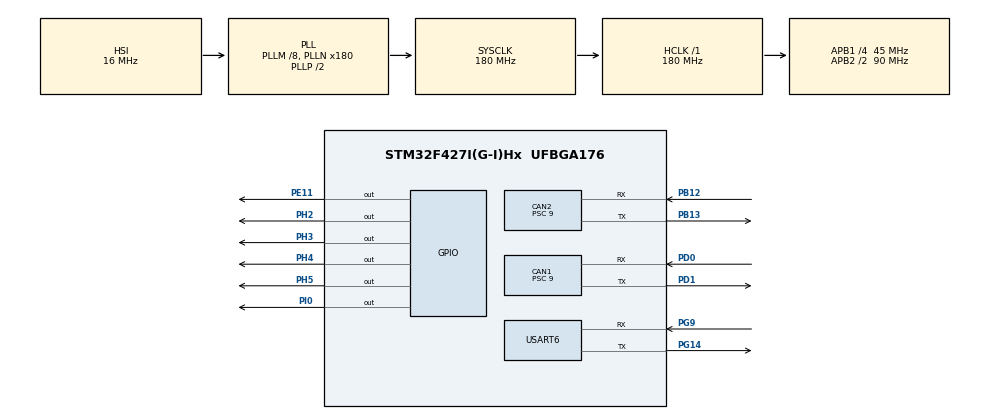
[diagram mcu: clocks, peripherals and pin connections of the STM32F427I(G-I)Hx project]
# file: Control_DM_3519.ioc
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CAN1.ABOM=ENABLE
CAN1.BS1=CAN_BS1_2TQ
CAN1.BS2=CAN_BS2_2TQ
CAN1.CalculateBaudRate=1000000
CAN1.CalculateTimeBit=1000
CAN1.CalculateTimeQuantum=200.0
CAN1.Prescaler=9
CAN2.BS1=CAN_BS1_2TQ
CAN2.BS2=CAN_BS2_2TQ
CAN2.CalculateBaudRate=1000000
CAN2.CalculateTimeBit=1000
CAN2.CalculateTimeQuantum=200.0
CAN2.Prescaler=9
Mcu.Family=STM32F4
Mcu.Name=STM32F427I(G-I)Hx
Mcu.Package=UFBGA176
NVIC.CAN1_RX0_IRQn=true\:0\:0\:false\:false\:true\:true\:true\:true
NVIC.CAN1_RX1_IRQn=true\:0\:0\:false\:false\:true\:true\:true\:true
NVIC.CAN1_SCE_IRQn=true\:0\:0\:false\:false\:true\:true\:true\:true
NVIC.CAN1_TX_IRQn=true\:0\:0\:false\:false\:true\:true\:true\:true
NVIC.CAN2_RX0_IRQn=true\:0\:0\:false\:false\:true\:true\:true\:true
NVIC.PriorityGroup=NVIC_PRIORITYGROUP_4
NVIC.TIM3_IRQn=true\:0\:0\:false\:false\:true\:true\:true\:true
PA13.Mode=Serial_Wire
PA13.Signal=SYS_JTMS-SWDIO
PA14.Mode=Serial_Wire
PA14.Signal=SYS_JTCK-SWCLK
PB12.Mode=CAN_Activate
PB12.Signal=CAN2_RX
PB13.Mode=CAN_Activate
PB13.Signal=CAN2_TX
PD0.Mode=CAN_Activate
PD0.Signal=CAN1_RX
PD1.Mode=CAN_Activate
PD1.Signal=CAN1_TX
PE11.Signal=GPIO_Output
PG14.Mode=Asynchronous
PG14.Signal=USART6_TX
PG9.Mode=Asynchronous
PG9.Signal=USART6_RX
PH0/OSC_IN.Mode=HSE-External-Oscillator
PH0/OSC_IN.Signal=RCC_OSC_IN
PH1/OSC_OUT.Mode=HSE-External-Oscillator
PH1/OSC_OUT.Signal=RCC_OSC_OUT
PH2.GPIO_PuPd=GPIO_PULLDOWN
PH2.PinState=GPIO_PIN_RESET
PH2.Signal=GPIO_Output
PH3.GPIO_PuPd=GPIO_PULLDOWN
PH3.PinState=GPIO_PIN_RESET
PH3.Signal=GPIO_Output
PH4.GPIO_PuPd=GPIO_PULLDOWN
PH4.PinState=GPIO_PIN_RESET
PH4.Signal=GPIO_Output
PH5.GPIO_PuPd=GPIO_PULLDOWN
PH5.PinState=GPIO_PIN_RESET
PH5.Signal=GPIO_Output
PI0.Signal=GPIO_Output
ProjectManager.HeapSize=0x200
ProjectManager.StackSize=0x400
ProjectManager.TargetToolchain=MDK-ARM V5.32
RCC.48MHZClocksFreq_Value=90000000
RCC.AHBFreq_Value=180000000
RCC.APB1CLKDivider=RCC_HCLK_DIV4
RCC.APB1Freq_Value=45000000
RCC.APB1TimFreq_Value=90000000
RCC.APB2CLKDivider=RCC_HCLK_DIV2
RCC.APB2Freq_Value=90000000
RCC.APB2TimFreq_Value=180000000
RCC.CortexFreq_Value=180000000
RCC.HCLKFreq_Value=180000000
RCC.HSE_VALUE=12000000
RCC.HSI_VALUE=16000000
RCC.LSE_VALUE=32768
RCC.PLLM=8
RCC.PLLN=180
RCC.SYSCLKFreq_VALUE=180000000
RCC.SYSCLKSource=RCC_SYSCLKSOURCE_PLLCLK
RCC.VCOOutputFreq_Value=360000000
TIM3.Period=1000-1
TIM3.Prescaler=180 - 1
USART6.VirtualMode=VM_ASYNC
VP_TIM3_VS_ClockSourceINT.Mode=Internal
board=custom

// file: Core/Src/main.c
/* USER CODE BEGIN Header */
/**
  ******************************************************************************
  * @file           : main.c
  * @brief          : Main program body
  ******************************************************************************
  * @attention
  *
  * Copyright (c) 2025 STMicroelectronics.
  * All rights reserved.
  *
  * This software is licensed under terms that can be found in the LICENSE file
  * in the root directory of this software component.
  * If no LICENSE file comes with this software, it is provided AS-IS.
  *
  ******************************************************************************
  */
/* USER CODE END Header */
#include "main.h"
#include "can.h"
#include "tim.h"
#include "usart.h"
#include "gpio.h"

/* USER CODE BEGIN Includes */
#include "CAN_receive.h"
#include "bsp_can.h"
#include "delay.h"
/* USER CODE END Includes */

/* USER CODE BEGIN PV */
  float vel=3.14;
/* USER CODE END PV */

void SystemClock_Config(void);

/* USER CODE BEGIN 0 */
void HAL_TIM_PeriodElapsedCallback(TIM_HandleTypeDef *htim)
{
  /* USER CODE BEGIN Callback 0 */
	if (htim->Instance == TIM3)
	{
		spd_control(vel);
//		disable_motor_mode(&hcan1,0x01,SPEED_MODE);
	}
}
/* USER CODE END 0 */

int main(void)
{

  /* MCU Configuration--------------------------------------------------------*/

  /* Reset of all peripherals, Initializes the Flash interface and the Systick. */
  HAL_Init();

  /* Configure the system clock */
  SystemClock_Config();

  /* Initialize all configured peripherals */
  MX_GPIO_Init();
  MX_CAN1_Init();
  MX_CAN2_Init();
  MX_USART6_UART_Init();
  MX_TIM3_Init();
  /* USER CODE BEGIN 2 */
  HAL_TIM_Base_MspInit(&htim3);
  can_filter_init();
	HAL_CAN_MspInit(&hcan1);
  HAL_GPIO_WritePin(GPIOH, GPIO_PIN_2|GPIO_PIN_3|GPIO_PIN_4|GPIO_PIN_5, GPIO_PIN_SET);
	HAL_Delay(10000);
  enable_motor_mode(&hcan1,0x01,SPEED_MODE);
  HAL_Delay(500);

  HAL_TIM_Base_Start_IT(&htim3);
//  spd_control(vel);
  /* USER CODE END 2 */

  /* Infinite loop */
  /* USER CODE BEGIN WHILE */
  while (1)
  {
	  HAL_GPIO_TogglePin(GPIOE, GPIO_PIN_11);
	  HAL_Delay(500);
    /* USER CODE END WHILE */

  }
}

void SystemClock_Config(void)
{
  RCC_OscInitTypeDef RCC_OscInitStruct = {0};
  RCC_ClkInitTypeDef RCC_ClkInitStruct = {0};

  /** Configure the main internal regulator output voltage
  */
  __HAL_RCC_PWR_CLK_ENABLE();
  __HAL_PWR_VOLTAGESCALING_CONFIG(PWR_REGULATOR_VOLTAGE_SCALE1);

  /** Initializes the RCC Oscillators according to the specified parameters
  * in the RCC_OscInitTypeDef structure.
  */
  RCC_OscInitStruct.OscillatorType = RCC_OSCILLATORTYPE_HSI;
  RCC_OscInitStruct.HSIState = RCC_HSI_ON;
  RCC_OscInitStruct.HSICalibrationValue = RCC_HSICALIBRATION_DEFAULT;
  RCC_OscInitStruct.PLL.PLLState = RCC_PLL_ON;
  RCC_OscInitStruct.PLL.PLLSource = RCC_PLLSOURCE_HSI;
  RCC_OscInitStruct.PLL.PLLM = 8;
  RCC_OscInitStruct.PLL.PLLN = 180;
  RCC_OscInitStruct.PLL.PLLP = RCC_PLLP_DIV2;
  RCC_OscInitStruct.PLL.PLLQ = 4;
  if (HAL_RCC_OscConfig(&RCC_OscInitStruct) != HAL_OK)
  {
    Error_Handler();
  }

  /** Activate the Over-Drive mode
  */
  if (HAL_PWREx_EnableOverDrive() != HAL_OK)
  {
    Error_Handler();
  }

  /** Initializes the CPU, AHB and APB buses clocks
  */
  RCC_ClkInitStruct.ClockType = RCC_CLOCKTYPE_HCLK|RCC_CLOCKTYPE_SYSCLK
                              |RCC_CLOCKTYPE_PCLK1|RCC_CLOCKTYPE_PCLK2;
  RCC_ClkInitStruct.SYSCLKSource = RCC_SYSCLKSOURCE_PLLCLK;
  RCC_ClkInitStruct.AHBCLKDivider = RCC_SYSCLK_DIV1;
  RCC_ClkInitStruct.APB1CLKDivider = RCC_HCLK_DIV4;
  RCC_ClkInitStruct.APB2CLKDivider = RCC_HCLK_DIV2;

  if (HAL_RCC_ClockConfig(&RCC_ClkInitStruct, FLASH_LATENCY_5) != HAL_OK)
  {
    Error_Handler();
  }
}

void Error_Handler(void)
{
  __disable_irq();
  while (1)
  {
  }
}
